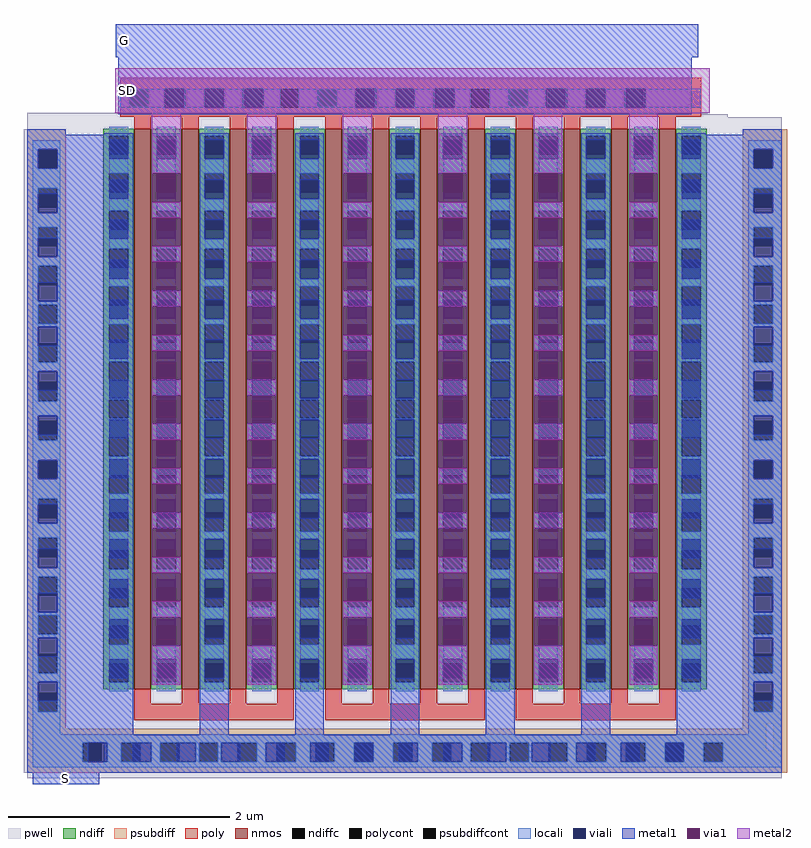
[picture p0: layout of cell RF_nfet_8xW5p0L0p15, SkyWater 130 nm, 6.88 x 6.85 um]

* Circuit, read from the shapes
.subckt RF_nfet_8xW5p0L0p15 G S SD
XM1 SD G S S sky130_fd_pr__nfet_01v8 w=5.05 l=0.15 m=12
.ends

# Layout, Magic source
magic
tech sky130B
magscale 1 2
<< pwell >>
rect -500 3412 714 3420
rect -500 3390 860 3412
rect -506 2319 870 3390
rect -506 2270 832 2319
rect 845 2270 870 2319
rect -506 2244 870 2270
rect -506 2230 -430 2244
rect -420 2230 870 2244
rect -500 2220 860 2230
<< psubdiff >>
rect -500 3354 -430 3390
rect -500 3320 -480 3354
rect -446 3320 -430 3354
rect -500 3284 -430 3320
rect -500 3250 -480 3284
rect -446 3250 -430 3284
rect -500 3214 -430 3250
rect -500 3180 -480 3214
rect -446 3180 -430 3214
rect -500 3144 -430 3180
rect -500 3110 -480 3144
rect -446 3110 -430 3144
rect -500 3074 -430 3110
rect -500 3040 -480 3074
rect -446 3040 -430 3074
rect -500 3004 -430 3040
rect -500 2970 -480 3004
rect -446 2970 -430 3004
rect -500 2934 -430 2970
rect -500 2900 -480 2934
rect -446 2900 -430 2934
rect -500 2864 -430 2900
rect -500 2830 -480 2864
rect -446 2830 -430 2864
rect -500 2794 -430 2830
rect -500 2760 -480 2794
rect -446 2760 -430 2794
rect -500 2724 -430 2760
rect -500 2690 -480 2724
rect -446 2690 -430 2724
rect -500 2654 -430 2690
rect -500 2620 -480 2654
rect -446 2620 -430 2654
rect -500 2584 -430 2620
rect -500 2550 -480 2584
rect -446 2550 -430 2584
rect -500 2514 -430 2550
rect -500 2480 -480 2514
rect -446 2480 -430 2514
rect -500 2444 -430 2480
rect -500 2410 -480 2444
rect -446 2410 -430 2444
rect -500 2374 -430 2410
rect -500 2340 -480 2374
rect -446 2340 -430 2374
rect -500 2310 -430 2340
rect 790 3354 870 3390
rect 790 3320 810 3354
rect 844 3320 870 3354
rect 790 3284 870 3320
rect 790 3250 810 3284
rect 844 3250 870 3284
rect 790 3214 870 3250
rect 790 3180 810 3214
rect 844 3180 870 3214
rect 790 3144 870 3180
rect 790 3110 810 3144
rect 844 3110 870 3144
rect 790 3074 870 3110
rect 790 3040 810 3074
rect 844 3040 870 3074
rect 790 3004 870 3040
rect 790 2970 810 3004
rect 844 2970 870 3004
rect 790 2934 870 2970
rect 790 2900 810 2934
rect 844 2900 870 2934
rect 790 2864 870 2900
rect 790 2830 810 2864
rect 844 2830 870 2864
rect 790 2794 870 2830
rect 790 2760 810 2794
rect 844 2760 870 2794
rect 790 2724 870 2760
rect 790 2690 810 2724
rect 844 2690 870 2724
rect 790 2654 870 2690
rect 790 2620 810 2654
rect 844 2620 870 2654
rect 790 2584 870 2620
rect 790 2550 810 2584
rect 844 2550 870 2584
rect 790 2514 870 2550
rect 790 2480 810 2514
rect 844 2480 870 2514
rect 790 2444 870 2480
rect 790 2410 810 2444
rect 844 2410 870 2444
rect 790 2374 870 2410
rect 790 2340 810 2374
rect 844 2340 870 2374
rect 790 2310 870 2340
rect -500 2284 870 2310
rect -500 2250 -400 2284
rect -366 2250 -330 2284
rect -296 2250 -260 2284
rect -226 2250 -190 2284
rect -156 2250 -120 2284
rect -86 2250 -50 2284
rect -16 2250 20 2284
rect 54 2250 90 2284
rect 124 2250 160 2284
rect 194 2250 230 2284
rect 264 2250 300 2284
rect 334 2250 370 2284
rect 404 2250 440 2284
rect 474 2250 510 2284
rect 544 2250 580 2284
rect 614 2250 650 2284
rect 684 2250 720 2284
rect 754 2250 870 2284
rect -500 2230 870 2250
<< psubdiffcont >>
rect -480 3320 -446 3354
rect -480 3250 -446 3284
rect -480 3180 -446 3214
rect -480 3110 -446 3144
rect -480 3040 -446 3074
rect -480 2970 -446 3004
rect -480 2900 -446 2934
rect -480 2830 -446 2864
rect -480 2760 -446 2794
rect -480 2690 -446 2724
rect -480 2620 -446 2654
rect -480 2550 -446 2584
rect -480 2480 -446 2514
rect -480 2410 -446 2444
rect -480 2340 -446 2374
rect 810 3320 844 3354
rect 810 3250 844 3284
rect 810 3180 844 3214
rect 810 3110 844 3144
rect 810 3040 844 3074
rect 810 2970 844 3004
rect 810 2900 844 2934
rect 810 2830 844 2864
rect 810 2760 844 2794
rect 810 2690 844 2724
rect 810 2620 844 2654
rect 810 2550 844 2584
rect 810 2480 844 2514
rect 810 2410 844 2444
rect 810 2340 844 2374
rect -400 2250 -366 2284
rect -330 2250 -296 2284
rect -260 2250 -226 2284
rect -190 2250 -156 2284
rect -120 2250 -86 2284
rect -50 2250 -16 2284
rect 20 2250 54 2284
rect 90 2250 124 2284
rect 160 2250 194 2284
rect 230 2250 264 2284
rect 300 2250 334 2284
rect 370 2250 404 2284
rect 440 2250 474 2284
rect 510 2250 544 2284
rect 580 2250 614 2284
rect 650 2250 684 2284
rect 720 2250 754 2284
<< poly >>
rect -5 3479 17 3483
rect -5 3417 24 3479
rect 2 3413 24 3417
<< polycont >>
rect -316 3429 -282 3463
rect -44 3429 -10 3463
rect 24 3429 58 3463
rect 300 3429 334 3463
rect 368 3429 402 3463
<< locali >>
rect -332 3429 -316 3463
rect -282 3429 -44 3463
rect -10 3429 24 3463
rect 58 3429 300 3463
rect 334 3429 368 3463
rect 402 3429 714 3463
rect -490 3354 -440 3370
rect -490 3320 -480 3354
rect -446 3320 -440 3354
rect -490 3284 -440 3320
rect -490 3240 -480 3284
rect -446 3240 -440 3284
rect -490 3214 -440 3240
rect -490 3160 -480 3214
rect -446 3160 -440 3214
rect -490 3144 -440 3160
rect -490 3080 -480 3144
rect -446 3080 -440 3144
rect -490 3074 -440 3080
rect -490 3040 -480 3074
rect -446 3040 -440 3074
rect -490 3034 -440 3040
rect -490 2970 -480 3034
rect -446 2970 -440 3034
rect -490 2954 -440 2970
rect -490 2900 -480 2954
rect -446 2900 -440 2954
rect -490 2874 -440 2900
rect -490 2830 -480 2874
rect -446 2830 -440 2874
rect -490 2794 -440 2830
rect -490 2760 -480 2794
rect -446 2760 -440 2794
rect -490 2724 -440 2760
rect -490 2680 -480 2724
rect -446 2680 -440 2724
rect -490 2654 -440 2680
rect -490 2600 -480 2654
rect -446 2600 -440 2654
rect -490 2584 -440 2600
rect -490 2520 -480 2584
rect -446 2520 -440 2584
rect -490 2514 -440 2520
rect -490 2480 -480 2514
rect -446 2480 -440 2514
rect -490 2474 -440 2480
rect -490 2410 -480 2474
rect -446 2410 -440 2474
rect -490 2394 -440 2410
rect -490 2340 -480 2394
rect -446 2340 -440 2394
rect -490 2300 -440 2340
rect 800 3354 860 3370
rect 800 3320 810 3354
rect 844 3320 860 3354
rect 800 3284 860 3320
rect 800 3240 810 3284
rect 844 3240 860 3284
rect 800 3214 860 3240
rect 800 3160 810 3214
rect 844 3160 860 3214
rect 800 3144 860 3160
rect 800 3080 810 3144
rect 844 3080 860 3144
rect 800 3074 860 3080
rect 800 3040 810 3074
rect 844 3040 860 3074
rect 800 3034 860 3040
rect 800 2970 810 3034
rect 844 2970 860 3034
rect 800 2954 860 2970
rect 800 2900 810 2954
rect 844 2900 860 2954
rect 800 2874 860 2900
rect 800 2830 810 2874
rect 844 2830 860 2874
rect 800 2794 860 2830
rect 800 2760 810 2794
rect 844 2760 860 2794
rect 800 2724 860 2760
rect 800 2680 810 2724
rect 844 2680 860 2724
rect 800 2654 860 2680
rect 800 2600 810 2654
rect 844 2600 860 2654
rect 800 2584 860 2600
rect 800 2520 810 2584
rect 844 2520 860 2584
rect 800 2514 860 2520
rect 800 2480 810 2514
rect 844 2480 860 2514
rect 800 2474 860 2480
rect 800 2410 810 2474
rect 844 2410 860 2474
rect 800 2394 860 2410
rect 800 2340 810 2394
rect 844 2340 860 2394
rect 800 2300 860 2340
rect -490 2284 860 2300
rect -490 2250 -400 2284
rect -356 2250 -330 2284
rect -276 2250 -260 2284
rect -196 2250 -190 2284
rect -156 2250 -150 2284
rect -86 2250 -70 2284
rect -16 2250 10 2284
rect 54 2250 90 2284
rect 124 2250 160 2284
rect 204 2250 230 2284
rect 284 2250 300 2284
rect 364 2250 370 2284
rect 404 2250 410 2284
rect 474 2250 490 2284
rect 544 2250 570 2284
rect 614 2250 650 2284
rect 684 2250 720 2284
rect 754 2250 860 2284
rect -490 2240 860 2250
<< viali >>
rect -480 3320 -446 3354
rect -480 3250 -446 3274
rect -480 3240 -446 3250
rect -480 3180 -446 3194
rect -480 3160 -446 3180
rect -480 3110 -446 3114
rect -480 3080 -446 3110
rect -480 3004 -446 3034
rect -480 3000 -446 3004
rect -480 2934 -446 2954
rect -480 2920 -446 2934
rect -480 2864 -446 2874
rect -480 2840 -446 2864
rect -480 2760 -446 2794
rect -480 2690 -446 2714
rect -480 2680 -446 2690
rect -480 2620 -446 2634
rect -480 2600 -446 2620
rect -480 2550 -446 2554
rect -480 2520 -446 2550
rect -480 2444 -446 2474
rect -480 2440 -446 2444
rect -480 2374 -446 2394
rect -480 2360 -446 2374
rect 810 3320 844 3354
rect 810 3250 844 3274
rect 810 3240 844 3250
rect 810 3180 844 3194
rect 810 3160 844 3180
rect 810 3110 844 3114
rect 810 3080 844 3110
rect 810 3004 844 3034
rect 810 3000 844 3004
rect 810 2934 844 2954
rect 810 2920 844 2934
rect 810 2864 844 2874
rect 810 2840 844 2864
rect 810 2760 844 2794
rect 810 2690 844 2714
rect 810 2680 844 2690
rect 810 2620 844 2634
rect 810 2600 844 2620
rect 810 2550 844 2554
rect 810 2520 844 2550
rect 810 2444 844 2474
rect 810 2440 844 2444
rect 810 2374 844 2394
rect 810 2360 844 2374
rect -390 2250 -366 2284
rect -366 2250 -356 2284
rect -310 2250 -296 2284
rect -296 2250 -276 2284
rect -230 2250 -226 2284
rect -226 2250 -196 2284
rect -150 2250 -120 2284
rect -120 2250 -116 2284
rect -70 2250 -50 2284
rect -50 2250 -36 2284
rect 10 2250 20 2284
rect 20 2250 44 2284
rect 90 2250 124 2284
rect 170 2250 194 2284
rect 194 2250 204 2284
rect 250 2250 264 2284
rect 264 2250 284 2284
rect 330 2250 334 2284
rect 334 2250 364 2284
rect 410 2250 440 2284
rect 440 2250 444 2284
rect 490 2250 510 2284
rect 510 2250 524 2284
rect 570 2250 580 2284
rect 580 2250 604 2284
rect 650 2250 684 2284
<< metal1 >>
rect -340 3520 710 3580
rect -5 3417 17 3483
rect -500 3380 -430 3390
rect 790 3380 860 3390
rect -500 3354 -310 3380
rect -500 3320 -480 3354
rect -446 3320 -310 3354
rect -500 3274 -310 3320
rect -500 3240 -480 3274
rect -446 3240 -310 3274
rect -500 3194 -310 3240
rect -500 3160 -480 3194
rect -446 3160 -310 3194
rect -500 3114 -310 3160
rect -500 3080 -480 3114
rect -446 3080 -310 3114
rect -500 3034 -310 3080
rect -500 3000 -480 3034
rect -446 3000 -310 3034
rect -500 2954 -310 3000
rect -500 2920 -480 2954
rect -446 2920 -310 2954
rect -500 2874 -310 2920
rect -500 2840 -480 2874
rect -446 2840 -310 2874
rect -500 2794 -310 2840
rect -500 2760 -480 2794
rect -446 2760 -310 2794
rect -500 2714 -310 2760
rect -500 2680 -480 2714
rect -446 2680 -310 2714
rect -500 2634 -310 2680
rect -500 2600 -480 2634
rect -446 2600 -310 2634
rect -500 2554 -310 2600
rect -500 2520 -480 2554
rect -446 2520 -310 2554
rect -500 2474 -310 2520
rect -500 2440 -480 2474
rect -446 2440 -310 2474
rect -500 2394 -310 2440
rect -500 2360 -480 2394
rect -446 2360 -310 2394
rect -500 2284 -310 2360
rect 680 3354 860 3380
rect 680 3320 810 3354
rect 844 3320 860 3354
rect 680 3274 860 3320
rect 680 3240 810 3274
rect 844 3240 860 3274
rect 680 3194 860 3240
rect 680 3160 810 3194
rect 844 3160 860 3194
rect 680 3114 860 3160
rect 680 3080 810 3114
rect 844 3080 860 3114
rect 680 3034 860 3080
rect 680 3000 810 3034
rect 844 3000 860 3034
rect 680 2954 860 3000
rect 680 2920 810 2954
rect 844 2920 860 2954
rect 680 2874 860 2920
rect 680 2840 810 2874
rect 844 2840 860 2874
rect 680 2794 860 2840
rect 680 2760 810 2794
rect 844 2760 860 2794
rect 680 2714 860 2760
rect 680 2680 810 2714
rect 844 2680 860 2714
rect 680 2634 860 2680
rect 680 2600 810 2634
rect 844 2600 860 2634
rect 680 2554 860 2600
rect 680 2520 810 2554
rect 844 2520 860 2554
rect 680 2474 860 2520
rect 680 2440 810 2474
rect 844 2440 860 2474
rect 680 2394 860 2440
rect 680 2360 810 2394
rect 844 2360 860 2394
rect 680 2284 860 2360
rect -500 2250 -390 2284
rect -356 2250 -310 2284
rect 684 2250 860 2284
rect -500 2230 860 2250
rect -490 2210 -370 2230
<< metal2 >>
rect -340 3420 730 3500
use sky130_fd_pr__rf_nfet_01v8_aM04_W5p00L0p15_notap  sky130_fd_pr__rf_nfet_01v8_aM04_W5p00L0p15_notap_0
transform 1 0 -501 0 1 2289
box 100 -41 576 1290
use sky130_fd_pr__rf_nfet_01v8_aM04_W5p00L0p15_notap  sky130_fd_pr__rf_nfet_01v8_aM04_W5p00L0p15_notap_1
transform 1 0 -157 0 1 2289
box 100 -41 576 1290
use sky130_fd_pr__rf_nfet_01v8_aM04_W5p00L0p15_notap  sky130_fd_pr__rf_nfet_01v8_aM04_W5p00L0p15_notap_2
transform 1 0 187 0 1 2289
box 100 -41 576 1290
<< labels >>
rlabel metal1 -490 2210 -370 2230 1 S
rlabel metal1 -340 3520 -310 3580 1 G
rlabel metal2 -340 3420 -300 3500 1 SD
<< end >>

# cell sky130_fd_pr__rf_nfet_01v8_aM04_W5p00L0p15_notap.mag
magic
tech sky130B
magscale 1 2
<< pwell >>
rect 100 66 576 1128
<< nmos >>
rect 194 92 224 1102
rect 280 92 310 1102
rect 366 92 396 1102
rect 452 92 482 1102
<< ndiff >>
rect 138 1090 194 1102
rect 138 1056 149 1090
rect 183 1056 194 1090
rect 138 1022 194 1056
rect 138 988 149 1022
rect 183 988 194 1022
rect 138 954 194 988
rect 138 920 149 954
rect 183 920 194 954
rect 138 886 194 920
rect 138 852 149 886
rect 183 852 194 886
rect 138 818 194 852
rect 138 784 149 818
rect 183 784 194 818
rect 138 750 194 784
rect 138 716 149 750
rect 183 716 194 750
rect 138 682 194 716
rect 138 648 149 682
rect 183 648 194 682
rect 138 614 194 648
rect 138 580 149 614
rect 183 580 194 614
rect 138 546 194 580
rect 138 512 149 546
rect 183 512 194 546
rect 138 478 194 512
rect 138 444 149 478
rect 183 444 194 478
rect 138 410 194 444
rect 138 376 149 410
rect 183 376 194 410
rect 138 342 194 376
rect 138 308 149 342
rect 183 308 194 342
rect 138 274 194 308
rect 138 240 149 274
rect 183 240 194 274
rect 138 206 194 240
rect 138 172 149 206
rect 183 172 194 206
rect 138 138 194 172
rect 138 104 149 138
rect 183 104 194 138
rect 138 92 194 104
rect 224 1090 280 1102
rect 224 1056 235 1090
rect 269 1056 280 1090
rect 224 1022 280 1056
rect 224 988 235 1022
rect 269 988 280 1022
rect 224 954 280 988
rect 224 920 235 954
rect 269 920 280 954
rect 224 886 280 920
rect 224 852 235 886
rect 269 852 280 886
rect 224 818 280 852
rect 224 784 235 818
rect 269 784 280 818
rect 224 750 280 784
rect 224 716 235 750
rect 269 716 280 750
rect 224 682 280 716
rect 224 648 235 682
rect 269 648 280 682
rect 224 614 280 648
rect 224 580 235 614
rect 269 580 280 614
rect 224 546 280 580
rect 224 512 235 546
rect 269 512 280 546
rect 224 478 280 512
rect 224 444 235 478
rect 269 444 280 478
rect 224 410 280 444
rect 224 376 235 410
rect 269 376 280 410
rect 224 342 280 376
rect 224 308 235 342
rect 269 308 280 342
rect 224 274 280 308
rect 224 240 235 274
rect 269 240 280 274
rect 224 206 280 240
rect 224 172 235 206
rect 269 172 280 206
rect 224 138 280 172
rect 224 104 235 138
rect 269 104 280 138
rect 224 92 280 104
rect 310 1090 366 1102
rect 310 1056 321 1090
rect 355 1056 366 1090
rect 310 1022 366 1056
rect 310 988 321 1022
rect 355 988 366 1022
rect 310 954 366 988
rect 310 920 321 954
rect 355 920 366 954
rect 310 886 366 920
rect 310 852 321 886
rect 355 852 366 886
rect 310 818 366 852
rect 310 784 321 818
rect 355 784 366 818
rect 310 750 366 784
rect 310 716 321 750
rect 355 716 366 750
rect 310 682 366 716
rect 310 648 321 682
rect 355 648 366 682
rect 310 614 366 648
rect 310 580 321 614
rect 355 580 366 614
rect 310 546 366 580
rect 310 512 321 546
rect 355 512 366 546
rect 310 478 366 512
rect 310 444 321 478
rect 355 444 366 478
rect 310 410 366 444
rect 310 376 321 410
rect 355 376 366 410
rect 310 342 366 376
rect 310 308 321 342
rect 355 308 366 342
rect 310 274 366 308
rect 310 240 321 274
rect 355 240 366 274
rect 310 206 366 240
rect 310 172 321 206
rect 355 172 366 206
rect 310 138 366 172
rect 310 104 321 138
rect 355 104 366 138
rect 310 92 366 104
rect 396 1090 452 1102
rect 396 1056 407 1090
rect 441 1056 452 1090
rect 396 1022 452 1056
rect 396 988 407 1022
rect 441 988 452 1022
rect 396 954 452 988
rect 396 920 407 954
rect 441 920 452 954
rect 396 886 452 920
rect 396 852 407 886
rect 441 852 452 886
rect 396 818 452 852
rect 396 784 407 818
rect 441 784 452 818
rect 396 750 452 784
rect 396 716 407 750
rect 441 716 452 750
rect 396 682 452 716
rect 396 648 407 682
rect 441 648 452 682
rect 396 614 452 648
rect 396 580 407 614
rect 441 580 452 614
rect 396 546 452 580
rect 396 512 407 546
rect 441 512 452 546
rect 396 478 452 512
rect 396 444 407 478
rect 441 444 452 478
rect 396 410 452 444
rect 396 376 407 410
rect 441 376 452 410
rect 396 342 452 376
rect 396 308 407 342
rect 441 308 452 342
rect 396 274 452 308
rect 396 240 407 274
rect 441 240 452 274
rect 396 206 452 240
rect 396 172 407 206
rect 441 172 452 206
rect 396 138 452 172
rect 396 104 407 138
rect 441 104 452 138
rect 396 92 452 104
rect 482 1090 538 1102
rect 482 1056 493 1090
rect 527 1056 538 1090
rect 482 1022 538 1056
rect 482 988 493 1022
rect 527 988 538 1022
rect 482 954 538 988
rect 482 920 493 954
rect 527 920 538 954
rect 482 886 538 920
rect 482 852 493 886
rect 527 852 538 886
rect 482 818 538 852
rect 482 784 493 818
rect 527 784 538 818
rect 482 750 538 784
rect 482 716 493 750
rect 527 716 538 750
rect 482 682 538 716
rect 482 648 493 682
rect 527 648 538 682
rect 482 614 538 648
rect 482 580 493 614
rect 527 580 538 614
rect 482 546 538 580
rect 482 512 493 546
rect 527 512 538 546
rect 482 478 538 512
rect 482 444 493 478
rect 527 444 538 478
rect 482 410 538 444
rect 482 376 493 410
rect 527 376 538 410
rect 482 342 538 376
rect 482 308 493 342
rect 527 308 538 342
rect 482 274 538 308
rect 482 240 493 274
rect 527 240 538 274
rect 482 206 538 240
rect 482 172 493 206
rect 527 172 538 206
rect 482 138 538 172
rect 482 104 493 138
rect 527 104 538 138
rect 482 92 538 104
<< ndiffc >>
rect 149 1056 183 1090
rect 149 988 183 1022
rect 149 920 183 954
rect 149 852 183 886
rect 149 784 183 818
rect 149 716 183 750
rect 149 648 183 682
rect 149 580 183 614
rect 149 512 183 546
rect 149 444 183 478
rect 149 376 183 410
rect 149 308 183 342
rect 149 240 183 274
rect 149 172 183 206
rect 149 104 183 138
rect 235 1056 269 1090
rect 235 988 269 1022
rect 235 920 269 954
rect 235 852 269 886
rect 235 784 269 818
rect 235 716 269 750
rect 235 648 269 682
rect 235 580 269 614
rect 235 512 269 546
rect 235 444 269 478
rect 235 376 269 410
rect 235 308 269 342
rect 235 240 269 274
rect 235 172 269 206
rect 235 104 269 138
rect 321 1056 355 1090
rect 321 988 355 1022
rect 321 920 355 954
rect 321 852 355 886
rect 321 784 355 818
rect 321 716 355 750
rect 321 648 355 682
rect 321 580 355 614
rect 321 512 355 546
rect 321 444 355 478
rect 321 376 355 410
rect 321 308 355 342
rect 321 240 355 274
rect 321 172 355 206
rect 321 104 355 138
rect 407 1056 441 1090
rect 407 988 441 1022
rect 407 920 441 954
rect 407 852 441 886
rect 407 784 441 818
rect 407 716 441 750
rect 407 648 441 682
rect 407 580 441 614
rect 407 512 441 546
rect 407 444 441 478
rect 407 376 441 410
rect 407 308 441 342
rect 407 240 441 274
rect 407 172 441 206
rect 407 104 441 138
rect 493 1056 527 1090
rect 493 988 527 1022
rect 493 920 527 954
rect 493 852 527 886
rect 493 784 527 818
rect 493 716 527 750
rect 493 648 527 682
rect 493 580 527 614
rect 493 512 527 546
rect 493 444 527 478
rect 493 376 527 410
rect 493 308 527 342
rect 493 240 527 274
rect 493 172 527 206
rect 493 104 527 138
<< poly >>
rect 169 1174 528 1194
rect 169 1140 253 1174
rect 287 1140 321 1174
rect 355 1140 389 1174
rect 423 1140 528 1174
rect 169 1124 528 1140
rect 194 1102 224 1124
rect 280 1102 310 1124
rect 366 1102 396 1124
rect 452 1102 482 1124
rect 194 66 224 92
rect 280 66 310 92
rect 366 66 396 92
rect 452 66 482 92
rect 194 36 482 66
<< polycont >>
rect 253 1140 287 1174
rect 321 1140 355 1174
rect 389 1140 423 1174
<< locali >>
rect 169 1140 249 1174
rect 287 1140 321 1174
rect 355 1140 389 1174
rect 427 1140 457 1174
rect 149 1090 183 1106
rect 149 1022 183 1048
rect 149 954 183 976
rect 149 886 183 904
rect 149 818 183 832
rect 149 750 183 760
rect 149 682 183 688
rect 149 614 183 616
rect 149 578 183 580
rect 149 506 183 512
rect 149 434 183 444
rect 149 362 183 376
rect 149 290 183 308
rect 149 218 183 240
rect 149 146 183 172
rect 149 88 183 104
rect 235 1090 269 1106
rect 235 1022 269 1048
rect 235 954 269 976
rect 235 886 269 904
rect 235 818 269 832
rect 235 750 269 760
rect 235 682 269 688
rect 235 614 269 616
rect 235 578 269 580
rect 235 506 269 512
rect 235 434 269 444
rect 235 362 269 376
rect 235 290 269 308
rect 235 218 269 240
rect 235 146 269 172
rect 235 88 269 104
rect 321 1090 355 1106
rect 321 1022 355 1048
rect 321 954 355 976
rect 321 886 355 904
rect 321 818 355 832
rect 321 750 355 760
rect 321 682 355 688
rect 321 614 355 616
rect 321 578 355 580
rect 321 506 355 512
rect 321 434 355 444
rect 321 362 355 376
rect 321 290 355 308
rect 321 218 355 240
rect 321 146 355 172
rect 321 88 355 104
rect 407 1090 441 1106
rect 407 1022 441 1048
rect 407 954 441 976
rect 407 886 441 904
rect 407 818 441 832
rect 407 750 441 760
rect 407 682 441 688
rect 407 614 441 616
rect 407 578 441 580
rect 407 506 441 512
rect 407 434 441 444
rect 407 362 441 376
rect 407 290 441 308
rect 407 218 441 240
rect 407 146 441 172
rect 407 88 441 104
rect 493 1090 527 1106
rect 493 1022 527 1048
rect 493 954 527 976
rect 493 886 527 904
rect 493 818 527 832
rect 493 750 527 760
rect 493 682 527 688
rect 493 614 527 616
rect 493 578 527 580
rect 493 506 527 512
rect 493 434 527 444
rect 493 362 527 376
rect 493 290 527 308
rect 493 218 527 240
rect 493 146 527 172
rect 493 88 527 104
<< viali >>
rect 249 1140 253 1174
rect 253 1140 283 1174
rect 321 1140 355 1174
rect 393 1140 423 1174
rect 423 1140 427 1174
rect 149 1056 183 1082
rect 149 1048 183 1056
rect 149 988 183 1010
rect 149 976 183 988
rect 149 920 183 938
rect 149 904 183 920
rect 149 852 183 866
rect 149 832 183 852
rect 149 784 183 794
rect 149 760 183 784
rect 149 716 183 722
rect 149 688 183 716
rect 149 648 183 650
rect 149 616 183 648
rect 149 546 183 578
rect 149 544 183 546
rect 149 478 183 506
rect 149 472 183 478
rect 149 410 183 434
rect 149 400 183 410
rect 149 342 183 362
rect 149 328 183 342
rect 149 274 183 290
rect 149 256 183 274
rect 149 206 183 218
rect 149 184 183 206
rect 149 138 183 146
rect 149 112 183 138
rect 235 1056 269 1082
rect 235 1048 269 1056
rect 235 988 269 1010
rect 235 976 269 988
rect 235 920 269 938
rect 235 904 269 920
rect 235 852 269 866
rect 235 832 269 852
rect 235 784 269 794
rect 235 760 269 784
rect 235 716 269 722
rect 235 688 269 716
rect 235 648 269 650
rect 235 616 269 648
rect 235 546 269 578
rect 235 544 269 546
rect 235 478 269 506
rect 235 472 269 478
rect 235 410 269 434
rect 235 400 269 410
rect 235 342 269 362
rect 235 328 269 342
rect 235 274 269 290
rect 235 256 269 274
rect 235 206 269 218
rect 235 184 269 206
rect 235 138 269 146
rect 235 112 269 138
rect 321 1056 355 1082
rect 321 1048 355 1056
rect 321 988 355 1010
rect 321 976 355 988
rect 321 920 355 938
rect 321 904 355 920
rect 321 852 355 866
rect 321 832 355 852
rect 321 784 355 794
rect 321 760 355 784
rect 321 716 355 722
rect 321 688 355 716
rect 321 648 355 650
rect 321 616 355 648
rect 321 546 355 578
rect 321 544 355 546
rect 321 478 355 506
rect 321 472 355 478
rect 321 410 355 434
rect 321 400 355 410
rect 321 342 355 362
rect 321 328 355 342
rect 321 274 355 290
rect 321 256 355 274
rect 321 206 355 218
rect 321 184 355 206
rect 321 138 355 146
rect 321 112 355 138
rect 407 1056 441 1082
rect 407 1048 441 1056
rect 407 988 441 1010
rect 407 976 441 988
rect 407 920 441 938
rect 407 904 441 920
rect 407 852 441 866
rect 407 832 441 852
rect 407 784 441 794
rect 407 760 441 784
rect 407 716 441 722
rect 407 688 441 716
rect 407 648 441 650
rect 407 616 441 648
rect 407 546 441 578
rect 407 544 441 546
rect 407 478 441 506
rect 407 472 441 478
rect 407 410 441 434
rect 407 400 441 410
rect 407 342 441 362
rect 407 328 441 342
rect 407 274 441 290
rect 407 256 441 274
rect 407 206 441 218
rect 407 184 441 206
rect 407 138 441 146
rect 407 112 441 138
rect 493 1056 527 1082
rect 493 1048 527 1056
rect 493 988 527 1010
rect 493 976 527 988
rect 493 920 527 938
rect 493 904 527 920
rect 493 852 527 866
rect 493 832 527 852
rect 493 784 527 794
rect 493 760 527 784
rect 493 716 527 722
rect 493 688 527 716
rect 493 648 527 650
rect 493 616 527 648
rect 493 546 527 578
rect 493 544 527 546
rect 493 478 527 506
rect 493 472 527 478
rect 493 410 527 434
rect 493 400 527 410
rect 493 342 527 362
rect 493 328 527 342
rect 493 274 527 290
rect 493 256 527 274
rect 493 206 527 218
rect 493 184 527 206
rect 493 138 527 146
rect 493 112 527 138
<< metal1 >>
rect 165 1174 511 1290
rect 165 1140 249 1174
rect 283 1140 321 1174
rect 355 1140 393 1174
rect 427 1140 511 1174
rect 165 1128 511 1140
rect 140 1082 192 1094
rect 140 1048 149 1082
rect 183 1048 192 1082
rect 140 1010 192 1048
rect 140 976 149 1010
rect 183 976 192 1010
rect 140 938 192 976
rect 140 904 149 938
rect 183 904 192 938
rect 140 866 192 904
rect 140 832 149 866
rect 183 832 192 866
rect 140 794 192 832
rect 140 760 149 794
rect 183 760 192 794
rect 140 722 192 760
rect 140 688 149 722
rect 183 688 192 722
rect 140 650 192 688
rect 140 616 149 650
rect 183 616 192 650
rect 140 578 192 616
rect 140 544 149 578
rect 183 544 192 578
rect 140 506 192 544
rect 140 472 149 506
rect 183 472 192 506
rect 140 434 192 472
rect 140 400 149 434
rect 183 400 192 434
rect 140 362 192 400
rect 140 328 149 362
rect 183 328 192 362
rect 140 290 192 328
rect 140 256 149 290
rect 183 256 192 290
rect 140 218 192 256
rect 140 184 149 218
rect 183 184 192 218
rect 140 146 192 184
rect 140 112 149 146
rect 183 112 192 146
rect 140 10 192 112
rect 226 1082 278 1094
rect 226 1048 235 1082
rect 269 1048 278 1082
rect 226 1022 278 1048
rect 226 942 278 970
rect 226 866 278 890
rect 226 862 235 866
rect 269 862 278 866
rect 226 794 278 810
rect 226 782 235 794
rect 269 782 278 794
rect 226 722 278 730
rect 226 702 235 722
rect 269 702 278 722
rect 226 622 235 650
rect 269 622 278 650
rect 226 544 235 570
rect 269 544 278 570
rect 226 542 278 544
rect 226 472 235 490
rect 269 472 278 490
rect 226 462 278 472
rect 226 400 235 410
rect 269 400 278 410
rect 226 382 278 400
rect 226 328 235 330
rect 269 328 278 330
rect 226 302 278 328
rect 226 222 278 250
rect 226 146 278 170
rect 226 112 235 146
rect 269 112 278 146
rect 226 100 278 112
rect 312 1082 364 1094
rect 312 1048 321 1082
rect 355 1048 364 1082
rect 312 1010 364 1048
rect 312 976 321 1010
rect 355 976 364 1010
rect 312 938 364 976
rect 312 904 321 938
rect 355 904 364 938
rect 312 866 364 904
rect 312 832 321 866
rect 355 832 364 866
rect 312 794 364 832
rect 312 760 321 794
rect 355 760 364 794
rect 312 722 364 760
rect 312 688 321 722
rect 355 688 364 722
rect 312 650 364 688
rect 312 616 321 650
rect 355 616 364 650
rect 312 578 364 616
rect 312 544 321 578
rect 355 544 364 578
rect 312 506 364 544
rect 312 472 321 506
rect 355 472 364 506
rect 312 434 364 472
rect 312 400 321 434
rect 355 400 364 434
rect 312 362 364 400
rect 312 328 321 362
rect 355 328 364 362
rect 312 290 364 328
rect 312 256 321 290
rect 355 256 364 290
rect 312 218 364 256
rect 312 184 321 218
rect 355 184 364 218
rect 312 146 364 184
rect 312 112 321 146
rect 355 112 364 146
rect 312 10 364 112
rect 398 1082 450 1094
rect 398 1048 407 1082
rect 441 1048 450 1082
rect 398 1022 450 1048
rect 398 942 450 970
rect 398 866 450 890
rect 398 862 407 866
rect 441 862 450 866
rect 398 794 450 810
rect 398 782 407 794
rect 441 782 450 794
rect 398 722 450 730
rect 398 702 407 722
rect 441 702 450 722
rect 398 622 407 650
rect 441 622 450 650
rect 398 544 407 570
rect 441 544 450 570
rect 398 542 450 544
rect 398 472 407 490
rect 441 472 450 490
rect 398 462 450 472
rect 398 400 407 410
rect 441 400 450 410
rect 398 382 450 400
rect 398 328 407 330
rect 441 328 450 330
rect 398 302 450 328
rect 398 222 450 250
rect 398 146 450 170
rect 398 112 407 146
rect 441 112 450 146
rect 398 100 450 112
rect 484 1082 536 1094
rect 484 1048 493 1082
rect 527 1048 536 1082
rect 484 1010 536 1048
rect 484 976 493 1010
rect 527 976 536 1010
rect 484 938 536 976
rect 484 904 493 938
rect 527 904 536 938
rect 484 866 536 904
rect 484 832 493 866
rect 527 832 536 866
rect 484 794 536 832
rect 484 760 493 794
rect 527 760 536 794
rect 484 722 536 760
rect 484 688 493 722
rect 527 688 536 722
rect 484 650 536 688
rect 484 616 493 650
rect 527 616 536 650
rect 484 578 536 616
rect 484 544 493 578
rect 527 544 536 578
rect 484 506 536 544
rect 484 472 493 506
rect 527 472 536 506
rect 484 434 536 472
rect 484 400 493 434
rect 527 400 536 434
rect 484 362 536 400
rect 484 328 493 362
rect 527 328 536 362
rect 484 290 536 328
rect 484 256 493 290
rect 527 256 536 290
rect 484 218 536 256
rect 484 184 493 218
rect 527 184 536 218
rect 484 146 536 184
rect 484 112 493 146
rect 527 112 536 146
rect 484 10 536 112
rect 140 -40 536 10
<< via1 >>
rect 226 1010 278 1022
rect 226 976 235 1010
rect 235 976 269 1010
rect 269 976 278 1010
rect 226 970 278 976
rect 226 938 278 942
rect 226 904 235 938
rect 235 904 269 938
rect 269 904 278 938
rect 226 890 278 904
rect 226 832 235 862
rect 235 832 269 862
rect 269 832 278 862
rect 226 810 278 832
rect 226 760 235 782
rect 235 760 269 782
rect 269 760 278 782
rect 226 730 278 760
rect 226 688 235 702
rect 235 688 269 702
rect 269 688 278 702
rect 226 650 278 688
rect 226 616 235 622
rect 235 616 269 622
rect 269 616 278 622
rect 226 578 278 616
rect 226 570 235 578
rect 235 570 269 578
rect 269 570 278 578
rect 226 506 278 542
rect 226 490 235 506
rect 235 490 269 506
rect 269 490 278 506
rect 226 434 278 462
rect 226 410 235 434
rect 235 410 269 434
rect 269 410 278 434
rect 226 362 278 382
rect 226 330 235 362
rect 235 330 269 362
rect 269 330 278 362
rect 226 290 278 302
rect 226 256 235 290
rect 235 256 269 290
rect 269 256 278 290
rect 226 250 278 256
rect 226 218 278 222
rect 226 184 235 218
rect 235 184 269 218
rect 269 184 278 218
rect 226 170 278 184
rect 398 1010 450 1022
rect 398 976 407 1010
rect 407 976 441 1010
rect 441 976 450 1010
rect 398 970 450 976
rect 398 938 450 942
rect 398 904 407 938
rect 407 904 441 938
rect 441 904 450 938
rect 398 890 450 904
rect 398 832 407 862
rect 407 832 441 862
rect 441 832 450 862
rect 398 810 450 832
rect 398 760 407 782
rect 407 760 441 782
rect 441 760 450 782
rect 398 730 450 760
rect 398 688 407 702
rect 407 688 441 702
rect 441 688 450 702
rect 398 650 450 688
rect 398 616 407 622
rect 407 616 441 622
rect 441 616 450 622
rect 398 578 450 616
rect 398 570 407 578
rect 407 570 441 578
rect 441 570 450 578
rect 398 506 450 542
rect 398 490 407 506
rect 407 490 441 506
rect 441 490 450 506
rect 398 434 450 462
rect 398 410 407 434
rect 407 410 441 434
rect 441 410 450 434
rect 398 362 450 382
rect 398 330 407 362
rect 407 330 441 362
rect 441 330 450 362
rect 398 290 450 302
rect 398 256 407 290
rect 407 256 441 290
rect 441 256 450 290
rect 398 250 450 256
rect 398 218 450 222
rect 398 184 407 218
rect 407 184 441 218
rect 441 184 450 218
rect 398 170 450 184
<< metal2 >>
rect 160 1130 540 1210
rect 226 1022 278 1130
rect 226 942 278 970
rect 226 862 278 890
rect 226 782 278 810
rect 226 702 278 730
rect 226 622 278 650
rect 226 542 278 570
rect 226 462 278 490
rect 226 382 278 410
rect 226 302 278 330
rect 226 222 278 250
rect 226 100 278 170
rect 398 1022 450 1130
rect 398 942 450 970
rect 398 862 450 890
rect 398 782 450 810
rect 398 702 450 730
rect 398 622 450 650
rect 398 542 450 570
rect 398 462 450 490
rect 398 382 450 410
rect 398 302 450 330
rect 398 222 450 250
rect 398 100 450 170
<< labels >>
rlabel metal1 165 1260 511 1290 1 G
rlabel metal1 139 -41 536 11 1 D
rlabel metal2 160 1130 190 1210 1 S
<< end >>
